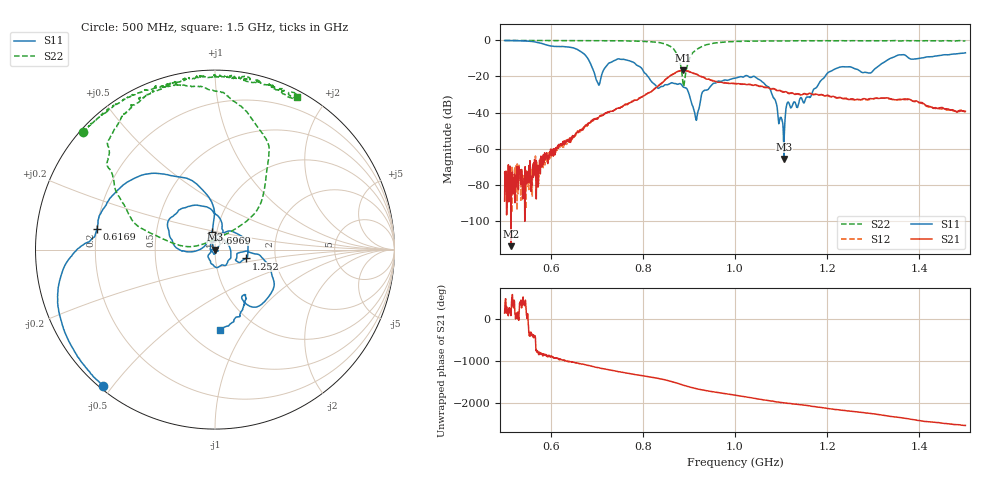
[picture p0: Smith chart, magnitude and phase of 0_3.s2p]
!Agilent Technologies,E8364B,US42250235,A.06.04.32
!Agilent E8364B: A.06.04.32
!Date: Friday, January 15, 2021 14:43:31
!Correction: S11(Full 2 Port(1,2)) S21(Full 2 Port(1,2)) S12(Full 2 Port(1,2)) S22(Full 2 Port(1,2))
!S2P File: Measurements: S11, S21, S12, S22:
# Hz S  dB  R 50
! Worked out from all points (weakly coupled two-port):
!   1601 points, 500 MHz to 1.5 GHz, reference 50 ohm
!   highest |S21| = -16.65 dB at 886.9 MHz (marker M1); lowest = -113.7 dB at 513.8 MHz (marker M2)
!   lowest |S11| = -65.6 dB at 1.106 GHz (marker M3), VSWR 1.00, Z = 50 - j0.0507 ohm
!   |S11| at or under -10 dB: 680.4 MHz to 1.337 GHz (656.9 MHz wide, 65.1 % of centre); 1.378 GHz to 1.399 GHz (20.72 MHz wide, 1.49 % of centre)
!   |S22| runs from -25.5 to -0.1 dB; largest |S21 - S12| = 0.0059
!   S11 on the Smith chart (normalised r, x): 500 MHz: 0.01, -0.47; 616.9 MHz: 0.20, +0.08; 696.9 MHz: 0.95, +0.18; 1.252 GHz: 1.41, -0.14; 1.5 GHz: 0.70, -0.78
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5e8  -0.16 -129.5  -88.88 136.5  -72.79 125.2  -0.14 138.4
5.1375e8  -0.21 -135.6  -113.73 76.9  -90.02 48.4  -0.16 136.5
5.43125e8  -0.40 -151.3  -75.92 -49.4  -75.12 -76.2  -0.14 134.5
6.16875e8  -3.51 170.1  -58.02 134.0  -58.32 136.8  -0.16 127.8
6.66875e8  -6.55 119.3  -49.62 5.6  -50.17 11.3  -0.18 121.4
6.96875e8  -20.23 100.1  -43.59 -68.2  -43.36 -60.8  -0.19 118.1
7.6125e8  -10.75 126.8  -35.54 159.0  -35.60 160.8  -0.39 108.3
8.3375e8  -26.59 96.9  -25.15 23.4  -25.02 24.5  -1.21 86.2
8.6875e8  -23.93 85.1  -18.43 -69.9  -18.25 -68.4  -5.52 56.9
8.86875e8  -25.68 64.3  -16.65 -132.3  -16.51 -130.6  -23.15 72.6
9.1625e8  -44.23 99.1  -18.74 140.9  -18.71 141.6  -5.33 155.6
9.325e8  -27.99 113.2  -20.57 102.8  -20.55 105.0  -3.04 144.0
1e9  -20.99 -9.2  -24.05 -13.4  -23.88 -12.3  -0.71 120.4
1.07125e9  -25.70 -138.1  -26.07 -140.3  -26.17 -139.5  -0.46 108.1
1.10625e9  -65.64 -76.3  -28.71 167.3  -28.54 165.1  -0.36 105.1
1.115e9  -34.27 -21.2  -29.22 151.7  -28.99 153.5  -0.36 103.9
1.166875e9  -29.49 137.6  -29.83 81.0  -29.81 83.7  -0.34 97.2
1.20375e9  -17.54 51.8  -30.63 26.0  -30.97 26.9  -0.31 94.3
1.2525e9  -14.85 -15.8  -32.36 -35.4  -32.77 -37.2  -0.30 88.2
1.2925e9  -18.15 -11.3  -32.26 -85.9  -32.67 -85.6  -0.23 84.1
1.33375e9  -10.47 -14.4  -32.12 -153.6  -32.31 -151.5  -0.30 79.3
1.5e9  -6.94 -86.3  -39.25 -12.9  -39.38 -16.7  -0.33 61.7
